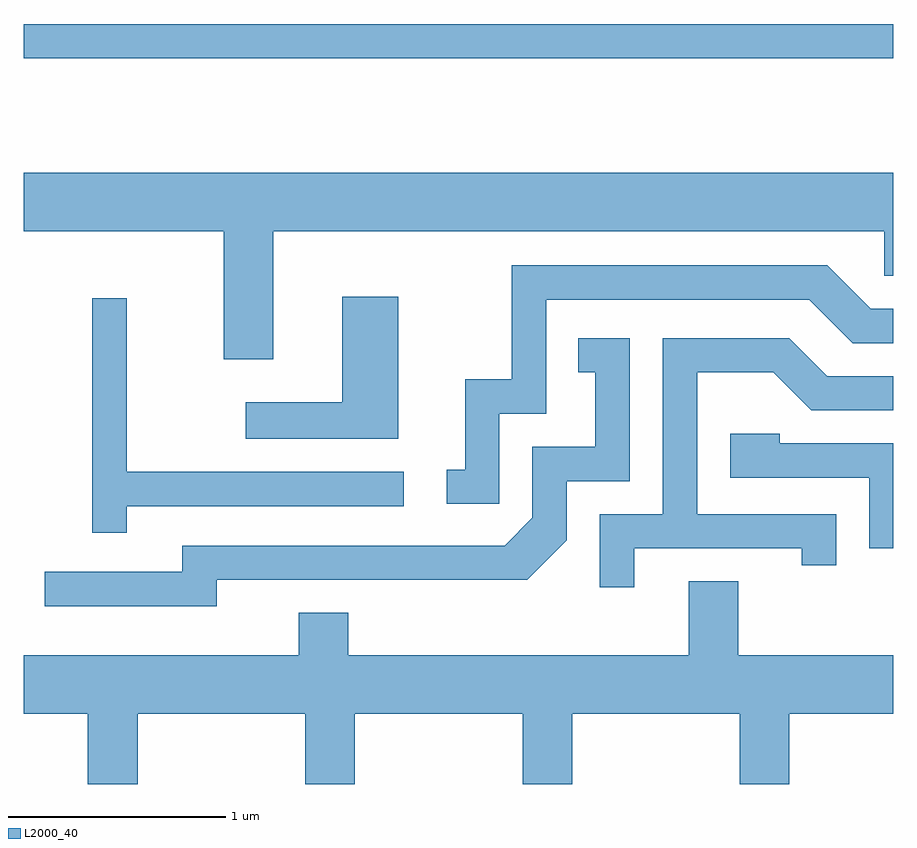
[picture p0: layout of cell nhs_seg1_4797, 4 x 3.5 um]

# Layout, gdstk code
import gdstk
lib = gdstk.Library(unit=1e-6, precision=1e-09)
def R(c, l, rs):  # rectangles x0, y0, x1, y1
    for r in rs: c.add(gdstk.rectangle(r[:2], r[2:], *l))
def P(c, l, *ps):  # polygons
    for p in ps: c.add(gdstk.Polygon(p, *l))
L2000_40 = (2000, 40)

nhs_seg1_4797 = lib.new_cell('nhs_seg1_4797')
R(nhs_seg1_4797, L2000_40, [(329.611,887.051,333.611,887.209)])
P(nhs_seg1_4797, L2000_40, [(330.759,886.256),(333.571,886.256),(333.571,886.051),(333.611,886.051),(333.611,886.524),(329.611,886.524),(329.611,886.256),(330.531,886.256),(330.531,885.666),(330.759,885.666)],
  [(331.799,885.416),(332.014,885.416),(332.014,885.941),(333.224,885.941),(333.424,885.741),(333.611,885.741),(333.611,885.899),(333.507,885.899),(333.307,886.099),(331.856,886.099),(331.856,885.574),(331.641,885.574),(331.641,885.159),(331.558,885.159),(331.558,885.001),(331.799,885.001)],
  [(331.334,885.954),(331.076,885.954),(331.076,885.469),(330.633,885.469),(330.633,885.301),(331.334,885.301)],
  [(330.084,884.991),(331.358,884.991),(331.358,885.149),(330.084,885.149),(330.084,885.948),(329.926,885.948),(329.926,884.868),(330.084,884.868)],
  [(332.419,884.796),(333.191,884.796),(333.191,884.718),(333.349,884.718),(333.349,884.954),(332.709,884.954),(332.709,885.606),(333.059,885.606),(333.234,885.431),(333.611,885.431),(333.611,885.589),(333.307,885.589),(333.132,885.764),(332.551,885.764),(332.551,884.954),(332.261,884.954),(332.261,884.618),(332.419,884.618)],
  [(330.499,884.651),(331.927,884.651),(332.109,884.834),(332.109,885.106),(332.399,885.106),(332.399,885.764),(332.163,885.764),(332.163,885.606),(332.241,885.606),(332.241,885.264),(331.951,885.264),(331.951,884.937),(331.824,884.809),(330.341,884.809),(330.341,884.689),(329.708,884.689),(329.708,884.531),(330.499,884.531)],
  [(333.611,885.279),(333.089,885.279),(333.089,885.324),(332.861,885.324),(332.861,885.121),(333.501,885.121),(333.501,884.796),(333.611,884.796)],
  [(330.134,884.036),(330.906,884.036),(330.906,883.712),(331.134,883.712),(331.134,884.036),(331.906,884.036),(331.906,883.712),(332.134,883.712),(332.134,884.036),(332.906,884.036),(332.906,883.712),(333.134,883.712),(333.134,884.036),(333.611,884.036),(333.611,884.304),(332.899,884.304),(332.899,884.644),(332.671,884.644),(332.671,884.304),(331.104,884.304),(331.104,884.499),(330.876,884.499),(330.876,884.304),(329.611,884.304),(329.611,884.036),(329.906,884.036),(329.906,883.712),(330.134,883.712)])

lib.write_gds('nhs_seg1_4797.gds')
